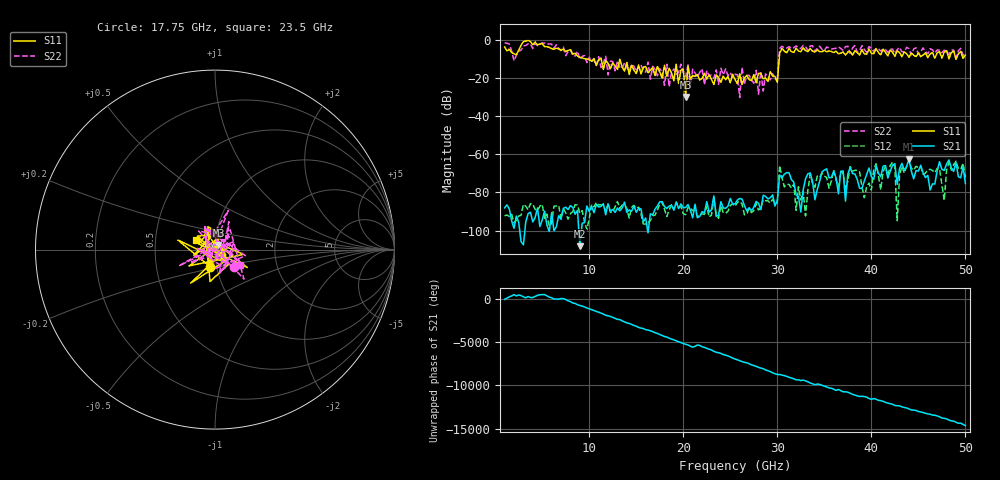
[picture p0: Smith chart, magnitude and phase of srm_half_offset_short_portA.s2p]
# GHz S RI R 50.0
!freq ReS11 ImS11 ReS21 ImS21 ReS12 ImS12 ReS22 ImS22
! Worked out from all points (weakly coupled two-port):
!   197 points, 1 GHz to 50 GHz, reference 50 ohm
!   highest |S21| = -62.60 dB at 44 GHz (marker M1); lowest = -108.2 dB at 9 GHz (marker M2)
!   lowest |S11| = -30.0 dB at 20.25 GHz (marker M3), VSWR 1.07, Z = 51.9 + j2.61 ohm
!   |S11| at or under -10 dB: 9.635 GHz to 10.47 GHz (832.5 MHz wide, 8.28 % of centre); 10.51 GHz to 11.13 GHz (613.5 MHz wide, 5.67 % of centre); 11.27 GHz to 30.2 GHz (18.93 GHz wide, 91.3 % of centre) (the widest 3 of 4)
!   |S22| runs from -30.2 to -1.6 dB; largest |S21 - S12| = 0.0012
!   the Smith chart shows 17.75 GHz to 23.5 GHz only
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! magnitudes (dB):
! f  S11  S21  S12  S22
! 1 GHz  -3.7  -88.1  -92.2  -1.6
! 9 GHz  -9.1  -108.2  -90.8  -10.3
! 9.25 GHz  -9.5  -96.2  -89.5  -8.6
! 17.5 GHz  -16.9  -84.9  -86.3  -15.1
! 20 GHz  -15.3  -88.0  -91.2  -17.2
! 20.25 GHz  -30.0  -87.9  -91.7  -19.4
! 20.5 GHz  -13.7  -86.4  -87.9  -13.2
! 20.75 GHz  -20.3  -89.2  -87.9  -24.8
! 25.5 GHz  -20.7  -86.0  -87.3  -18.1
! 28 GHz  -17.5  -85.7  -89.2  -28.5
! 30 GHz  -22.3  -84.1  -85.5  -20.2
! 30.5 GHz  -4.4  -72.4  -72.3  -3.4
! 33.75 GHz  -6.0  -74.4  -75.3  -3.1
! 37.25 GHz  -8.0  -84.6  -78.6  -3.6
! 37.75 GHz  -6.3  -66.9  -66.5  -7.1
! 39.25 GHz  -7.3  -74.0  -82.8  -5.1
! 40.5 GHz  -4.6  -65.9  -65.0  -4.5
! 41 GHz  -7.8  -71.8  -78.6  -5.8
! 42 GHz  -5.4  -69.1  -66.0  -4.9
! 42.75 GHz  -5.8  -75.8  -94.9  -5.1
! 44 GHz  -9.2  -62.6  -63.0  -4.6
! 50 GHz  -8.0  -75.3  -72.2  -7.1
